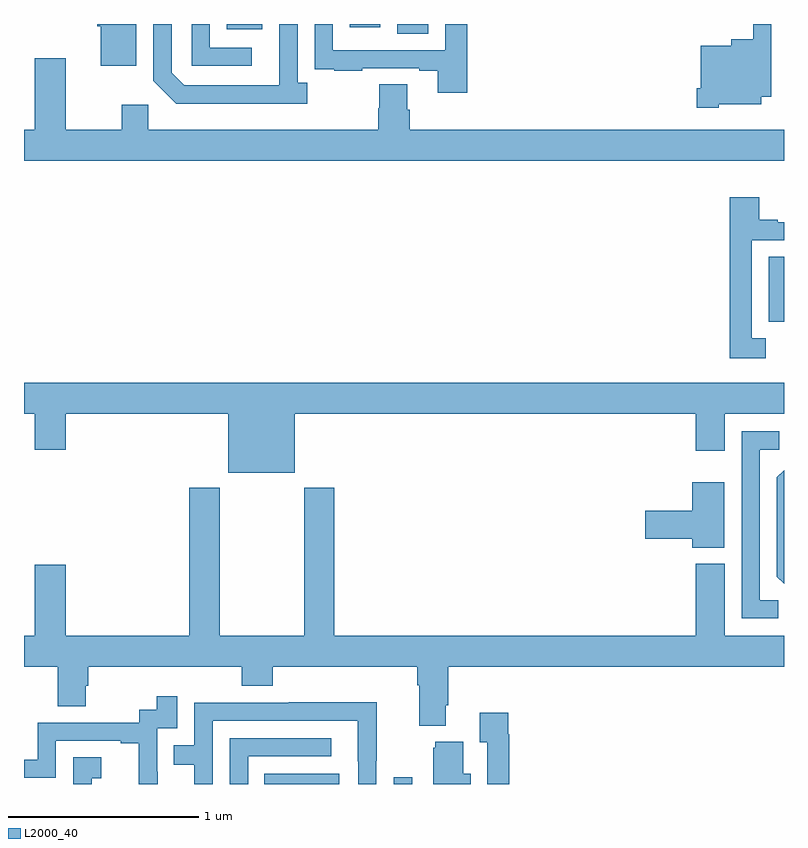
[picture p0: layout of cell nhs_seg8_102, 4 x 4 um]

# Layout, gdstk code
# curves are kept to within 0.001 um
import gdstk
lib = gdstk.Library(unit=1e-6, precision=1e-09)
def R(c, l, rs):  # rectangles x0, y0, x1, y1
    for r in rs: c.add(gdstk.rectangle(r[:2], r[2:], *l))
def P(c, l, *ps):  # polygons
    for p in ps: c.add(gdstk.Polygon(p, *l))
L2000_40 = (2000, 40)

nhs_seg8_102 = lib.new_cell('nhs_seg8_102')
R(nhs_seg8_102, L2000_40, [(118.264,1099.9,118.66,1099.954), (118.947,1099.9,119.043,1099.936), (120.92,1102.333,121,1102.676), (118.964,1103.848,119.128,1103.9), (118.067,1103.873,118.255,1103.9), (118.715,1103.883,118.876,1103.9)])
P(nhs_seg8_102, L2000_40, [(118.198,1103.775),(117.978,1103.775),(117.978,1103.9),(117.882,1103.9),(117.882,1103.679),(118.198,1103.679)],
  [(120.657,1103.477),(120.88,1103.477),(120.88,1103.516),(120.934,1103.516),(120.934,1103.9),(120.837,1103.9),(120.837,1103.821),(120.722,1103.821),(120.722,1103.785),(120.563,1103.785),(120.563,1103.563),(120.542,1103.563),(120.542,1103.459),(120.657,1103.459)],
  [(118.492,1103.59),(118.44,1103.59),(118.44,1103.9),(118.344,1103.9),(118.343,1103.577),(117.843,1103.577),(117.777,1103.643),(117.777,1103.9),(117.681,1103.9),(117.681,1103.601),(117.802,1103.48),(118.492,1103.48)],
  [(117.592,1103.9),(117.385,1103.9),(117.385,1103.889),(117.404,1103.889),(117.404,1103.681),(117.592,1103.681)],
  [(119.333,1103.9),(119.217,1103.9),(119.217,1103.763),(118.626,1103.763),(118.626,1103.9),(118.53,1103.9),(118.53,1103.77),(118.531,1103.77),(118.531,1103.661),(118.633,1103.661),(118.633,1103.655),(118.781,1103.655),(118.781,1103.667),(119.081,1103.667),(119.081,1103.655),(119.177,1103.655),(119.177,1103.538),(119.333,1103.538)],
  [(121,1103.344),(119.03,1103.344),(119.03,1103.45),(119.017,1103.45),(119.017,1103.582),(118.87,1103.582),(118.87,1103.457),(118.865,1103.457),(118.865,1103.344),(117.654,1103.344),(117.654,1103.476),(117.515,1103.476),(117.515,1103.344),(117.22,1103.344),(117.22,1103.719),(117.056,1103.719),(117.056,1103.344),(117,1103.344),(117,1103.18),(121,1103.18)],
  [(120.904,1102.245),(120.831,1102.245),(120.831,1102.761),(121,1102.761),(121,1102.857),(120.967,1102.857),(120.967,1102.87),(120.871,1102.87),(120.871,1102.987),(120.715,1102.987),(120.715,1102.14),(120.904,1102.14)],
  [(118.426,1101.848),(120.536,1101.848),(120.536,1101.654),(120.688,1101.654),(120.688,1101.848),(121,1101.848),(121,1102.012),(117,1102.012),(117,1101.848),(117.056,1101.848),(117.056,1101.66),(117.22,1101.66),(117.22,1101.848),(118.076,1101.848),(118.076,1101.539),(118.426,1101.539)],
  [(120.969,1100.867),(120.873,1100.867),(120.873,1101.66),(120.976,1101.66),(120.976,1101.756),(120.777,1101.756),(120.777,1100.772),(120.969,1100.772)],
  [(121,1101.551),(120.963,1101.514),(120.963,1100.992),(121,1100.955)],
  [(120.685,1101.487),(120.518,1101.487),(120.518,1101.338),(120.27,1101.338),(120.27,1101.191),(120.518,1101.191),(120.518,1101.143),(120.685,1101.143)],
  [(119.221,1100.314),(119.234,1100.314),(119.234,1100.516),(121,1100.516),(121,1100.68),(120.688,1100.68),(120.688,1101.058),(120.536,1101.058),(120.536,1100.68),(118.634,1100.68),(118.634,1101.46),(118.474,1101.46),(118.474,1100.68),(118.029,1100.68),(118.029,1101.46),(117.869,1101.46),(117.869,1100.68),(117.22,1100.68),(117.22,1101.055),(117.056,1101.055),(117.056,1100.68),(117,1100.68),(117,1100.516),(117.178,1100.516),(117.178,1100.308),(117.325,1100.308),(117.325,1100.418),(117.338,1100.418),(117.338,1100.516),(118.145,1100.516),(118.145,1100.417),(118.31,1100.417),(118.31,1100.516),(119.069,1100.516),(119.069,1100.42),(119.081,1100.42),(119.081,1100.207),(119.221,1100.207)],
  [(117.704,1099.964),(117.702,1099.964),(117.702,1100.193),(117.807,1100.193),(117.807,1100.362),(117.699,1100.362),(117.699,1100.292),(117.606,1100.292),(117.606,1100.223),(117.072,1100.223),(117.072,1100.028),(117,1100.028),(117,1099.932),(117.168,1099.932),(117.168,1100.127),(117.509,1100.127),(117.509,1100.115),(117.605,1100.115),(117.605,1099.9),(117.704,1099.9)],
  [(117.993,1100.232),(118.757,1100.232),(118.757,1100.02),(118.758,1100.02),(118.758,1099.9),(118.854,1099.9),(118.854,1100.023),(118.857,1100.023),(118.857,1100.33),(118.393,1100.33),(118.393,1100.328),(117.897,1100.328),(117.897,1100.103),(117.787,1100.103),(117.787,1100.002),(117.897,1100.002),(117.897,1099.9),(117.993,1099.9)],
  [(119.555,1100.162),(119.548,1100.162),(119.548,1100.275),(119.399,1100.275),(119.399,1100.119),(119.439,1100.119),(119.439,1099.9),(119.555,1099.9)],
  [(118.179,1100.046),(118.618,1100.046),(118.618,1100.142),(118.083,1100.142),(118.083,1099.9),(118.179,1099.9)],
  [(119.35,1099.954),(119.311,1099.954),(119.311,1100.122),(119.165,1100.122),(119.165,1100.091),(119.153,1100.091),(119.153,1099.9),(119.35,1099.9)],
  [(117.357,1099.931),(117.406,1099.931),(117.406,1100.041),(117.258,1100.041),(117.258,1099.9),(117.357,1099.9)])

lib.write_gds('nhs_seg8_102.gds')
